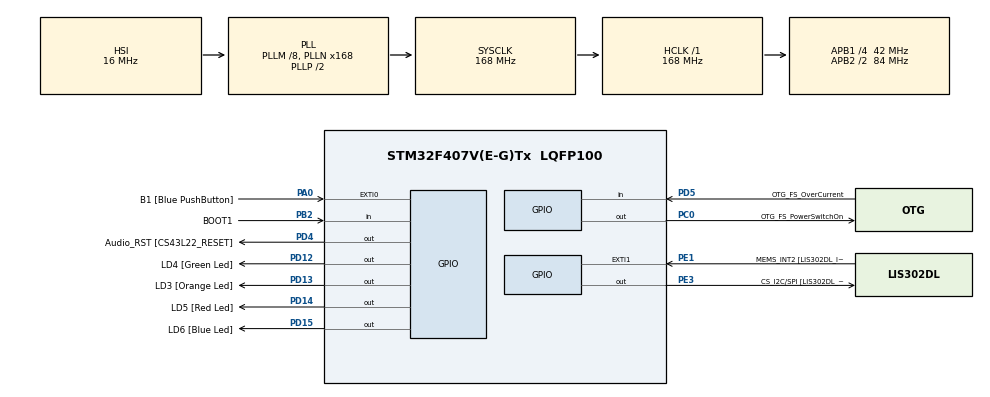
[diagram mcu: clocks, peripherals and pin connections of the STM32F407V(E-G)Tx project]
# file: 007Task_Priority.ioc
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FREERTOS.Tasks01=defaultTask,24,128,StartDefaultTask,Default,NULL,Dynamic,NULL,NULL
Mcu.Family=STM32F4
Mcu.Name=STM32F407V(E-G)Tx
Mcu.Package=LQFP100
NVIC.EXTI0_IRQn=true\:6\:0\:true\:false\:true\:true\:true\:true\:true
NVIC.PriorityGroup=NVIC_PRIORITYGROUP_4
NVIC.TIM4_IRQn=true\:0\:0\:false\:false\:true\:false\:false\:true\:true
NVIC.TimeBase=TIM4_IRQn
NVIC.TimeBaseIP=TIM4
PA0-WKUP.GPIO_Label=B1 [Blue PushButton]
PA0-WKUP.GPIO_ModeDefaultEXTI=GPIO_MODE_IT_FALLING
PA0-WKUP.Signal=GPXTI0
PA10.GPIO_Label=OTG_FS_ID
PA10.GPIO_Mode=GPIO_MODE_AF_PP
PA10.GPIO_PuPd=GPIO_NOPULL
PA10.GPIO_Speed=GPIO_SPEED_FREQ_LOW
PA10.Signal=USB_OTG_FS_ID
PA11.GPIO_Label=OTG_FS_DM
PA11.GPIO_Mode=GPIO_MODE_AF_PP
PA11.GPIO_PuPd=GPIO_NOPULL
PA11.GPIO_Speed=GPIO_SPEED_FREQ_LOW
PA11.Signal=USB_OTG_FS_DM
PA12.GPIO_Label=OTG_FS_DP
PA12.GPIO_Mode=GPIO_MODE_AF_PP
PA12.GPIO_PuPd=GPIO_NOPULL
PA12.GPIO_Speed=GPIO_SPEED_FREQ_LOW
PA12.Signal=USB_OTG_FS_DP
PA13.GPIO_Label=SWDIO
PA13.Signal=SYS_JTMS-SWDIO
PA14.GPIO_Label=SWCLK
PA14.Signal=SYS_JTCK-SWCLK
PA4.GPIO_Label=I2S3_WS [CS43L22_LRCK]
PA4.GPIO_Mode=GPIO_MODE_AF_PP
PA4.GPIO_PuPd=GPIO_NOPULL
PA4.GPIO_Speed=GPIO_SPEED_FREQ_LOW
PA4.Signal=I2S3_WS
PA5.GPIO_Label=SPI1_SCK [LIS302DL_SCL/SPC]
PA5.GPIO_Mode=GPIO_MODE_AF_PP
PA5.GPIO_PuPd=GPIO_NOPULL
PA5.GPIO_Speed=GPIO_SPEED_FREQ_LOW
PA5.Signal=SPI1_SCK
PA6.GPIO_Label=SPI1_MISO [LIS302DL_SDO]
PA6.GPIO_Mode=GPIO_MODE_AF_PP
PA6.GPIO_PuPd=GPIO_NOPULL
PA6.GPIO_Speed=GPIO_SPEED_FREQ_LOW
PA6.Signal=SPI1_MISO
PA7.GPIO_Label=SPI1_MOSI [LIS302DL_SDA/SDI/SDO]
PA7.GPIO_Mode=GPIO_MODE_AF_PP
PA7.GPIO_PuPd=GPIO_NOPULL
PA7.GPIO_Speed=GPIO_SPEED_FREQ_LOW
PA7.Signal=SPI1_MOSI
PA9.GPIO_Label=VBUS_FS
PA9.GPIO_Mode=GPIO_MODE_INPUT
PA9.GPIO_PuPd=GPIO_NOPULL
PA9.Signal=USB_OTG_FS_VBUS
PB10.GPIO_Label=CLK_IN [MP45DT02_CLK]
PB10.GPIO_Mode=GPIO_MODE_AF_PP
PB10.GPIO_PuPd=GPIO_NOPULL
PB10.GPIO_Speed=GPIO_SPEED_FREQ_LOW
PB10.Signal=I2S2_CK
PB2.GPIO_Label=BOOT1
PB2.GPIO_Mode=GPIO_MODE_INPUT
PB2.GPIO_PuPd=GPIO_NOPULL
PB2.Signal=GPIO_Input
PB3.GPIO_Label=SWO
PB3.Signal=SYS_JTDO-SWO
PB6.GPIO_Label=Audio_SCL [CS43L22_SCL]
PB6.GPIO_Mode=GPIO_MODE_AF_OD
PB6.GPIO_PuPd=GPIO_NOPULL
PB6.GPIO_Speed=GPIO_SPEED_FREQ_LOW
PB6.Signal=I2C1_SCL
PB9.GPIO_Label=Audio_SDA [CS43L22_SDA]
PB9.GPIO_Mode=GPIO_MODE_AF_OD
PB9.GPIO_PuPd=GPIO_NOPULL
PB9.GPIO_Speed=GPIO_SPEED_FREQ_LOW
PB9.Signal=I2C1_SDA
PC0.GPIO_Label=OTG_FS_PowerSwitchOn
PC0.GPIO_PuPd=GPIO_NOPULL
PC0.GPIO_Speed=GPIO_SPEED_FREQ_LOW
PC0.PinState=GPIO_PIN_SET
PC0.Signal=GPIO_Output
PC10.GPIO_Label=I2S3_SCK [CS43L22_SCLK]
PC10.GPIO_Mode=GPIO_MODE_AF_PP
PC10.GPIO_PuPd=GPIO_NOPULL
PC10.GPIO_Speed=GPIO_SPEED_FREQ_LOW
PC10.Signal=I2S3_CK
PC12.GPIO_Label=I2S3_SD [CS43L22_SDIN]
PC12.GPIO_Mode=GPIO_MODE_AF_PP
PC12.GPIO_PuPd=GPIO_NOPULL
PC12.GPIO_Speed=GPIO_SPEED_FREQ_LOW
PC12.Signal=I2S3_SD
PC14-OSC32_IN.GPIO_Label=PC14-OSC32_IN
PC14-OSC32_IN.Signal=RCC_OSC32_IN
PC15-OSC32_OUT.GPIO_Label=PC15-OSC32_OUT
PC15-OSC32_OUT.Signal=RCC_OSC32_OUT
PC3.GPIO_Label=PDM_OUT [MP45DT02_DOUT]
PC3.GPIO_Mode=GPIO_MODE_AF_PP
PC3.GPIO_PuPd=GPIO_NOPULL
PC3.GPIO_Speed=GPIO_SPEED_FREQ_LOW
PC3.Signal=I2S2_SD
PC7.GPIO_Label=I2S3_MCK [CS43L22_MCLK]
PC7.GPIO_Mode=GPIO_MODE_AF_PP
PC7.GPIO_PuPd=GPIO_NOPULL
PC7.GPIO_Speed=GPIO_SPEED_FREQ_LOW
PC7.Signal=I2S3_MCK
PD12.GPIO_Label=LD4 [Green Led]
PD12.GPIO_PuPd=GPIO_NOPULL
PD12.GPIO_Speed=GPIO_SPEED_FREQ_LOW
PD12.Signal=GPIO_Output
PD13.GPIO_Label=LD3 [Orange Led]
PD13.GPIO_PuPd=GPIO_NOPULL
PD13.GPIO_Speed=GPIO_SPEED_FREQ_LOW
PD13.Signal=GPIO_Output
PD14.GPIO_Label=LD5 [Red Led]
PD14.GPIO_PuPd=GPIO_NOPULL
PD14.GPIO_Speed=GPIO_SPEED_FREQ_LOW
PD14.Signal=GPIO_Output
PD15.GPIO_Label=LD6 [Blue Led]
PD15.GPIO_PuPd=GPIO_NOPULL
PD15.GPIO_Speed=GPIO_SPEED_FREQ_LOW
PD15.Signal=GPIO_Output
PD4.GPIO_Label=Audio_RST [CS43L22_RESET]
PD4.GPIO_PuPd=GPIO_NOPULL
PD4.GPIO_Speed=GPIO_SPEED_FREQ_LOW
PD4.Signal=GPIO_Output
PD5.GPIO_Label=OTG_FS_OverCurrent
PD5.GPIO_Mode=GPIO_MODE_INPUT
PD5.GPIO_PuPd=GPIO_NOPULL
PD5.Signal=GPIO_Input
PE1.GPIO_Label=MEMS_INT2 [LIS302DL_INT2]
PE1.GPIO_ModeDefaultEXTI=GPIO_MODE_EVT_RISING
PE1.GPIO_PuPd=GPIO_NOPULL
PE1.Signal=GPXTI1
PE3.GPIO_Label=CS_I2C/SPI [LIS302DL_CS_I2C/SPI]
PE3.GPIO_PuPd=GPIO_NOPULL
PE3.GPIO_Speed=GPIO_SPEED_FREQ_LOW
PE3.Signal=GPIO_Output
PH0-OSC_IN.GPIO_Label=PH0-OSC_IN
PH0-OSC_IN.Signal=RCC_OSC_IN
PH1-OSC_OUT.GPIO_Label=PH1-OSC_OUT
PH1-OSC_OUT.Signal=RCC_OSC_OUT
ProjectManager.HeapSize=0x200
ProjectManager.StackSize=0x400
ProjectManager.TargetToolchain=STM32CubeIDE
RCC.48MHZClocksFreq_Value=48000000
RCC.AHBFreq_Value=168000000
RCC.APB1CLKDivider=RCC_HCLK_DIV4
RCC.APB1Freq_Value=42000000
RCC.APB1TimFreq_Value=84000000
RCC.APB2CLKDivider=RCC_HCLK_DIV2
RCC.APB2Freq_Value=84000000
RCC.APB2TimFreq_Value=168000000
RCC.CortexFreq_Value=168000000
RCC.HCLKFreq_Value=168000000
RCC.HSE_VALUE=8000000
RCC.HSI_VALUE=16000000
RCC.LSE_VALUE=32768
RCC.PLLM=8
RCC.PLLN=168
RCC.PLLQ=7
RCC.SYSCLKFreq_VALUE=168000000
RCC.SYSCLKSource=RCC_SYSCLKSOURCE_PLLCLK
RCC.VCOOutputFreq_Value=336000000
VP_FREERTOS_VS_CMSIS_V2.Mode=CMSIS_V2
VP_SYS_VS_tim4.Mode=TIM4
board=STM32F407G-DISC1

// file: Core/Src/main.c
/* USER CODE BEGIN Header */
/**
  ******************************************************************************
  * @file           : main.c
  * @brief          : Main program body
  ******************************************************************************
  * @attention
  *
  * Copyright (c) 2025 STMicroelectronics.
  * All rights reserved.
  *
  * This software is licensed under terms that can be found in the LICENSE file
  * in the root directory of this software component.
  * If no LICENSE file comes with this software, it is provided AS-IS.
  *
  ******************************************************************************
  */
/* USER CODE END Header */
#include "main.h"
#include "cmsis_os.h"

/* USER CODE BEGIN Includes */
#include <stdio.h>
#include <FreeRTOS.h>
#include <task.h>
#include <stdint.h>

/* USER CODE END Includes */

/* Definitions for defaultTask */
osThreadId_t defaultTaskHandle;
const osThreadAttr_t defaultTask_attributes = {
  .name = "defaultTask",
  .stack_size = 128 * 4,
  .priority = (osPriority_t) osPriorityNormal,
};
/* USER CODE BEGIN PV */
#define DWT_CTRL	(*(volatile uint32_t*)0xE0001000)

volatile BaseType_t status_button = 0;
/* USER CODE END PV */

void SystemClock_Config(void);
static void MX_GPIO_Init(void);
void StartDefaultTask(void *argument);

/* USER CODE BEGIN PFP */

static void led_green_handler(void* parameters);
static void led_red_handler(void* parameters);

void switch_priority();

extern void SEGGER_UART_init(uint32_t);

TaskHandle_t task1_handle;
TaskHandle_t task2_handle;

TaskHandle_t btn_task_handle;

TaskHandle_t volatile next_task_handle = NULL;

/* USER CODE END PFP */

int main(void)
{

  /* USER CODE BEGIN 1 */

	BaseType_t status;

  /* USER CODE END 1 */

  /* MCU Configuration--------------------------------------------------------*/

  /* Reset of all peripherals, Initializes the Flash interface and the Systick. */
  HAL_Init();

  /* Configure the system clock */
  SystemClock_Config();

  /* Initialize all configured peripherals */
  MX_GPIO_Init();
  /* USER CODE BEGIN 2 */

  SEGGER_UART_init(250000);

  //Enable the CYCCNT counter
  DWT_CTRL |= (1 << 0);

  SEGGER_SYSVIEW_Conf();

  status = xTaskCreate(led_red_handler, "LED_Red_Task", 200, NULL, 2, &task1_handle);

  configASSERT(status = pdPASS);

  status = xTaskCreate(led_green_handler, "LED_Green_Task", 200, NULL, 3, &task2_handle);

  configASSERT(status = pdPASS);

  // start the freeRTOS scheduler
  vTaskStartScheduler();

  //if the control comes here then the launch of the scheduleer has failed due to insufficient memory in
  // the heap

  /* USER CODE END 2 */

  /* Init scheduler */
  osKernelInitialize();

  /* Create the thread(s) */
  /* creation of defaultTask */
  defaultTaskHandle = osThreadNew(StartDefaultTask, NULL, &defaultTask_attributes);

  /* Start scheduler */
  osKernelStart();

  /* We should never get here as control is now taken by the scheduler */

  /* Infinite loop */
  while (1)
  {

  }
}

void SystemClock_Config(void)
{
  RCC_OscInitTypeDef RCC_OscInitStruct = {0};
  RCC_ClkInitTypeDef RCC_ClkInitStruct = {0};

  /** Configure the main internal regulator output voltage
  */
  __HAL_RCC_PWR_CLK_ENABLE();
  __HAL_PWR_VOLTAGESCALING_CONFIG(PWR_REGULATOR_VOLTAGE_SCALE1);

  /** Initializes the RCC Oscillators according to the specified parameters
  * in the RCC_OscInitTypeDef structure.
  */
  RCC_OscInitStruct.OscillatorType = RCC_OSCILLATORTYPE_HSI;
  RCC_OscInitStruct.HSIState = RCC_HSI_ON;
  RCC_OscInitStruct.HSICalibrationValue = RCC_HSICALIBRATION_DEFAULT;
  RCC_OscInitStruct.PLL.PLLState = RCC_PLL_ON;
  RCC_OscInitStruct.PLL.PLLSource = RCC_PLLSOURCE_HSI;
  RCC_OscInitStruct.PLL.PLLM = 8;
  RCC_OscInitStruct.PLL.PLLN = 168;
  RCC_OscInitStruct.PLL.PLLP = RCC_PLLP_DIV2;
  RCC_OscInitStruct.PLL.PLLQ = 7;
  if (HAL_RCC_OscConfig(&RCC_OscInitStruct) != HAL_OK)
  {
    Error_Handler();
  }

  /** Initializes the CPU, AHB and APB buses clocks
  */
  RCC_ClkInitStruct.ClockType = RCC_CLOCKTYPE_HCLK|RCC_CLOCKTYPE_SYSCLK
                              |RCC_CLOCKTYPE_PCLK1|RCC_CLOCKTYPE_PCLK2;
  RCC_ClkInitStruct.SYSCLKSource = RCC_SYSCLKSOURCE_PLLCLK;
  RCC_ClkInitStruct.AHBCLKDivider = RCC_SYSCLK_DIV1;
  RCC_ClkInitStruct.APB1CLKDivider = RCC_HCLK_DIV4;
  RCC_ClkInitStruct.APB2CLKDivider = RCC_HCLK_DIV2;

  if (HAL_RCC_ClockConfig(&RCC_ClkInitStruct, FLASH_LATENCY_5) != HAL_OK)
  {
    Error_Handler();
  }
}

static void MX_GPIO_Init(void)
{
  GPIO_InitTypeDef GPIO_InitStruct = {0};

  /* GPIO Ports Clock Enable */
  __HAL_RCC_GPIOE_CLK_ENABLE();
  __HAL_RCC_GPIOC_CLK_ENABLE();
  __HAL_RCC_GPIOH_CLK_ENABLE();
  __HAL_RCC_GPIOA_CLK_ENABLE();
  __HAL_RCC_GPIOB_CLK_ENABLE();
  __HAL_RCC_GPIOD_CLK_ENABLE();

  /*Configure GPIO pin Output Level */
  HAL_GPIO_WritePin(CS_I2C_SPI_GPIO_Port, CS_I2C_SPI_Pin, GPIO_PIN_RESET);

  /*Configure GPIO pin Output Level */
  HAL_GPIO_WritePin(OTG_FS_PowerSwitchOn_GPIO_Port, OTG_FS_PowerSwitchOn_Pin, GPIO_PIN_SET);

  /*Configure GPIO pin Output Level */
  HAL_GPIO_WritePin(GPIOD, LD4_Pin|LD3_Pin|LD5_Pin|LD6_Pin
                          |Audio_RST_Pin, GPIO_PIN_RESET);

  /*Configure GPIO pin : CS_I2C_SPI_Pin */
  GPIO_InitStruct.Pin = CS_I2C_SPI_Pin;
  GPIO_InitStruct.Mode = GPIO_MODE_OUTPUT_PP;
  GPIO_InitStruct.Pull = GPIO_NOPULL;
  GPIO_InitStruct.Speed = GPIO_SPEED_FREQ_LOW;
  HAL_GPIO_Init(CS_I2C_SPI_GPIO_Port, &GPIO_InitStruct);

  /*Configure GPIO pin : OTG_FS_PowerSwitchOn_Pin */
  GPIO_InitStruct.Pin = OTG_FS_PowerSwitchOn_Pin;
  GPIO_InitStruct.Mode = GPIO_MODE_OUTPUT_PP;
  GPIO_InitStruct.Pull = GPIO_NOPULL;
  GPIO_InitStruct.Speed = GPIO_SPEED_FREQ_LOW;
  HAL_GPIO_Init(OTG_FS_PowerSwitchOn_GPIO_Port, &GPIO_InitStruct);

  /*Configure GPIO pin : PDM_OUT_Pin */
  GPIO_InitStruct.Pin = PDM_OUT_Pin;
  GPIO_InitStruct.Mode = GPIO_MODE_AF_PP;
  GPIO_InitStruct.Pull = GPIO_NOPULL;
  GPIO_InitStruct.Speed = GPIO_SPEED_FREQ_LOW;
  GPIO_InitStruct.Alternate = GPIO_AF5_SPI2;
  HAL_GPIO_Init(PDM_OUT_GPIO_Port, &GPIO_InitStruct);

  /*Configure GPIO pin : B1_Pin */
  GPIO_InitStruct.Pin = B1_Pin;
  GPIO_InitStruct.Mode = GPIO_MODE_IT_FALLING;
  GPIO_InitStruct.Pull = GPIO_NOPULL;
  HAL_GPIO_Init(B1_GPIO_Port, &GPIO_InitStruct);

  /*Configure GPIO pin : I2S3_WS_Pin */
  GPIO_InitStruct.Pin = I2S3_WS_Pin;
  GPIO_InitStruct.Mode = GPIO_MODE_AF_PP;
  GPIO_InitStruct.Pull = GPIO_NOPULL;
  GPIO_InitStruct.Speed = GPIO_SPEED_FREQ_LOW;
  GPIO_InitStruct.Alternate = GPIO_AF6_SPI3;
  HAL_GPIO_Init(I2S3_WS_GPIO_Port, &GPIO_InitStruct);

  /*Configure GPIO pins : SPI1_SCK_Pin SPI1_MISO_Pin SPI1_MOSI_Pin */
  GPIO_InitStruct.Pin = SPI1_SCK_Pin|SPI1_MISO_Pin|SPI1_MOSI_Pin;
  GPIO_InitStruct.Mode = GPIO_MODE_AF_PP;
  GPIO_InitStruct.Pull = GPIO_NOPULL;
  GPIO_InitStruct.Speed = GPIO_SPEED_FREQ_LOW;
  GPIO_InitStruct.Alternate = GPIO_AF5_SPI1;
  HAL_GPIO_Init(GPIOA, &GPIO_InitStruct);

  /*Configure GPIO pin : BOOT1_Pin */
  GPIO_InitStruct.Pin = BOOT1_Pin;
  GPIO_InitStruct.Mode = GPIO_MODE_INPUT;
  GPIO_InitStruct.Pull = GPIO_NOPULL;
  HAL_GPIO_Init(BOOT1_GPIO_Port, &GPIO_InitStruct);

  /*Configure GPIO pin : CLK_IN_Pin */
  GPIO_InitStruct.Pin = CLK_IN_Pin;
  GPIO_InitStruct.Mode = GPIO_MODE_AF_PP;
  GPIO_InitStruct.Pull = GPIO_NOPULL;
  GPIO_InitStruct.Speed = GPIO_SPEED_FREQ_LOW;
  GPIO_InitStruct.Alternate = GPIO_AF5_SPI2;
  HAL_GPIO_Init(CLK_IN_GPIO_Port, &GPIO_InitStruct);

  /*Configure GPIO pins : LD4_Pin LD3_Pin LD5_Pin LD6_Pin
                           Audio_RST_Pin */
  GPIO_InitStruct.Pin = LD4_Pin|LD3_Pin|LD5_Pin|LD6_Pin
                          |Audio_RST_Pin;
  GPIO_InitStruct.Mode = GPIO_MODE_OUTPUT_PP;
  GPIO_InitStruct.Pull = GPIO_NOPULL;
  GPIO_InitStruct.Speed = GPIO_SPEED_FREQ_LOW;
  HAL_GPIO_Init(GPIOD, &GPIO_InitStruct);

  /*Configure GPIO pins : I2S3_MCK_Pin I2S3_SCK_Pin I2S3_SD_Pin */
  GPIO_InitStruct.Pin = I2S3_MCK_Pin|I2S3_SCK_Pin|I2S3_SD_Pin;
  GPIO_InitStruct.Mode = GPIO_MODE_AF_PP;
  GPIO_InitStruct.Pull = GPIO_NOPULL;
  GPIO_InitStruct.Speed = GPIO_SPEED_FREQ_LOW;
  GPIO_InitStruct.Alternate = GPIO_AF6_SPI3;
  HAL_GPIO_Init(GPIOC, &GPIO_InitStruct);

  /*Configure GPIO pin : VBUS_FS_Pin */
  GPIO_InitStruct.Pin = VBUS_FS_Pin;
  GPIO_InitStruct.Mode = GPIO_MODE_INPUT;
  GPIO_InitStruct.Pull = GPIO_NOPULL;
  HAL_GPIO_Init(VBUS_FS_GPIO_Port, &GPIO_InitStruct);

  /*Configure GPIO pins : OTG_FS_ID_Pin OTG_FS_DM_Pin OTG_FS_DP_Pin */
  GPIO_InitStruct.Pin = OTG_FS_ID_Pin|OTG_FS_DM_Pin|OTG_FS_DP_Pin;
  GPIO_InitStruct.Mode = GPIO_MODE_AF_PP;
  GPIO_InitStruct.Pull = GPIO_NOPULL;
  GPIO_InitStruct.Speed = GPIO_SPEED_FREQ_LOW;
  GPIO_InitStruct.Alternate = GPIO_AF10_OTG_FS;
  HAL_GPIO_Init(GPIOA, &GPIO_InitStruct);

  /*Configure GPIO pin : OTG_FS_OverCurrent_Pin */
  GPIO_InitStruct.Pin = OTG_FS_OverCurrent_Pin;
  GPIO_InitStruct.Mode = GPIO_MODE_INPUT;
  GPIO_InitStruct.Pull = GPIO_NOPULL;
  HAL_GPIO_Init(OTG_FS_OverCurrent_GPIO_Port, &GPIO_InitStruct);

  /*Configure GPIO pins : Audio_SCL_Pin Audio_SDA_Pin */
  GPIO_InitStruct.Pin = Audio_SCL_Pin|Audio_SDA_Pin;
  GPIO_InitStruct.Mode = GPIO_MODE_AF_OD;
  GPIO_InitStruct.Pull = GPIO_NOPULL;
  GPIO_InitStruct.Speed = GPIO_SPEED_FREQ_LOW;
  GPIO_InitStruct.Alternate = GPIO_AF4_I2C1;
  HAL_GPIO_Init(GPIOB, &GPIO_InitStruct);

  /*Configure GPIO pin : MEMS_INT2_Pin */
  GPIO_InitStruct.Pin = MEMS_INT2_Pin;
  GPIO_InitStruct.Mode = GPIO_MODE_EVT_RISING;
  GPIO_InitStruct.Pull = GPIO_NOPULL;
  HAL_GPIO_Init(MEMS_INT2_GPIO_Port, &GPIO_InitStruct);

  /* EXTI interrupt init*/
  HAL_NVIC_SetPriority(EXTI0_IRQn, 6, 0);
  HAL_NVIC_EnableIRQ(EXTI0_IRQn);

}

/* USER CODE BEGIN 4 */

void switch_priority()
{
	UBaseType_t p1,p2;
	xTaskHandle t1,t2,curr;

	BaseType_t switch_priority = 0;

	portENTER_CRITICAL();
	if(status_button)
	{
		status_button = 0;
		switch_priority = 1;
	}
	portEXIT_CRITICAL();

	if(switch_priority)
	{
		t1 = xTaskGetHandle("LED_Red_Task");
		t2 = xTaskGetHandle("LED_Green_Task");

		p1 = uxTaskPriorityGet(t1);
		p2 = uxTaskPriorityGet(t2);

		curr = xTaskGetCurrentTaskHandle();

		if(curr == t1)
		{
			vTaskPrioritySet(t1, p2);
			vTaskPrioritySet(t2, p1);
		}
		else
		{
			vTaskPrioritySet(t2, p1);
			vTaskPrioritySet(t1, p2);
		}
	}
}

extern void button_interrupt_hanlder(void)
{
	traceISR_ENTER();
	status_button = 1;
	traceISR_EXIT();
}

static void led_green_handler(void* parameters)
{

	while(1)
	{
		SEGGER_SYSVIEW_PrintfTarget("Toggling green LED");
		HAL_GPIO_TogglePin(GPIOD, LD4_Pin);
		HAL_Delay(1000);
		//vTaskDelay(pdMS_TO_TICKS(1000));
		switch_priority();
	}

}

static void led_red_handler(void* parameters)
{

	while(1)
	{
		SEGGER_SYSVIEW_PrintfTarget("Toggling red LED");
		HAL_GPIO_TogglePin(GPIOD, LD5_Pin);
		vTaskDelay(pdMS_TO_TICKS(100));
		switch_priority();
	}

}

/* USER CODE END 4 */

void StartDefaultTask(void *argument)
{
  for(;;)
  {
    osDelay(1);
  }
}

void HAL_TIM_PeriodElapsedCallback(TIM_HandleTypeDef *htim)
{
  if (htim->Instance == TIM4)
  {
    HAL_IncTick();
  }
}

void Error_Handler(void)
{
  __disable_irq();
  while (1)
  {
  }
}
